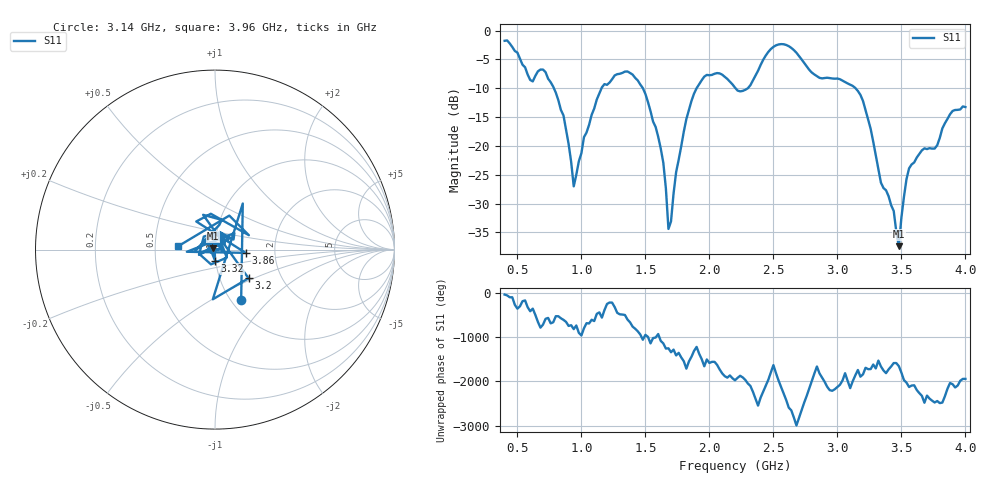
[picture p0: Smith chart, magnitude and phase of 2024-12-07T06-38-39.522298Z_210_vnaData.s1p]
!Created with skrf (http://scikit-rf.org).
# Hz S RI R 50.0
!freq ReS11 ImS11
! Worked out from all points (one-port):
!   181 points, 400 MHz to 4 GHz, reference 50 ohm
!   lowest |S11| = -37.4 dB at 3.48 GHz (marker M1), VSWR 1.03, Z = 48.9 + j0.729 ohm
!   |S11| at or under -10 dB: 785.3 MHz to 1.157 GHz (371.9 MHz wide, 38.3 % of centre); 1.481 GHz to 1.9 GHz (419.2 MHz wide, 24.8 % of centre); 3.142 GHz to end of sweep (the widest 3 of 4)
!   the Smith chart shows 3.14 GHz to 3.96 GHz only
!   S11 on the Smith chart (normalised r, x): 3.14 GHz: 1.11, -0.70; 3.2 GHz: 1.37, -0.46; 3.32 GHz: 0.99, -0.13; 3.86 GHz: 1.41, -0.05; 3.96 GHz: 0.66, +0.02
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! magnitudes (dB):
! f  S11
! 400 MHz  -1.8
! 600 MHz  -8.6
! 720 MHz  -7.2
! 860 MHz  -14.7
! 940 MHz  -27.0
! 1.12 GHz  -12.0
! 1.3 GHz  -7.5
! 1.52 GHz  -12.4
! 1.64 GHz  -22.9
! 1.68 GHz  -34.4
! 1.76 GHz  -22.4
! 1.86 GHz  -12.2
! 1.96 GHz  -8.0
! 2.2 GHz  -9.9
! 2.3 GHz  -10.0
! 2.5 GHz  -2.8
! 2.66 GHz  -3.4
! 3.1 GHz  -9.4
! 3.14 GHz  -9.9
! 3.2 GHz  -12.2
! 3.32 GHz  -24.0
! 3.44 GHz  -31.3
! 3.48 GHz  -37.4
! 3.56 GHz  -23.9
! 3.76 GHz  -20.5
! 3.86 GHz  -15.3
! 3.96 GHz  -13.7
! 4 GHz  -13.3
